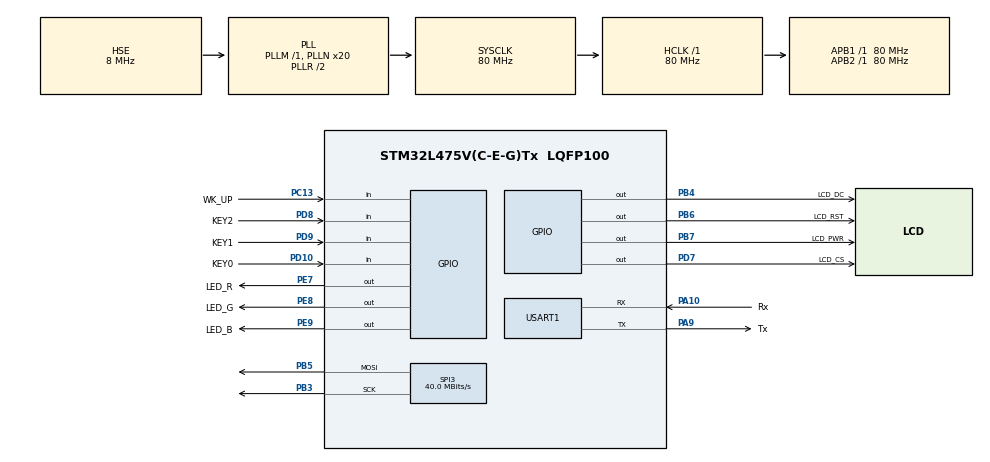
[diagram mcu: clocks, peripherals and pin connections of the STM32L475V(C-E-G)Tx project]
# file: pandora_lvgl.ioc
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Dma.Request0=SPI3_TX
Dma.SPI3_TX.0.Direction=DMA_MEMORY_TO_PERIPH
Dma.SPI3_TX.0.Instance=DMA2_Channel2
Dma.SPI3_TX.0.MemDataAlignment=DMA_MDATAALIGN_BYTE
Dma.SPI3_TX.0.MemInc=DMA_MINC_ENABLE
Dma.SPI3_TX.0.Mode=DMA_NORMAL
Dma.SPI3_TX.0.PeriphDataAlignment=DMA_PDATAALIGN_BYTE
Dma.SPI3_TX.0.PeriphInc=DMA_PINC_DISABLE
Dma.SPI3_TX.0.Priority=DMA_PRIORITY_MEDIUM
Mcu.Family=STM32L4
Mcu.Name=STM32L475V(C-E-G)Tx
Mcu.Package=LQFP100
NVIC.DMA2_Channel2_IRQn=true\:2\:0\:true\:false\:true\:false\:true
NVIC.PriorityGroup=NVIC_PRIORITYGROUP_4
PA10.GPIO_Label=Rx
PA10.Mode=Asynchronous
PA10.Signal=USART1_RX
PA9.GPIO_Label=Tx
PA9.Mode=Asynchronous
PA9.Signal=USART1_TX
PB3\ (JTDO-TRACESWO).Mode=TX_Only_Simplex_Unidirect_Master
PB3\ (JTDO-TRACESWO).Signal=SPI3_SCK
PB4\ (NJTRST).GPIO_Label=LCD_DC
PB4\ (NJTRST).GPIO_PuPd=GPIO_PULLUP
PB4\ (NJTRST).GPIO_Speed=GPIO_SPEED_FREQ_HIGH
PB4\ (NJTRST).PinState=GPIO_PIN_SET
PB4\ (NJTRST).Signal=GPIO_Output
PB5.Mode=TX_Only_Simplex_Unidirect_Master
PB5.Signal=SPI3_MOSI
PB6.GPIO_Label=LCD_RST
PB6.GPIO_ModeDefaultOutputPP=GPIO_MODE_OUTPUT_PP
PB6.GPIO_PuPd=GPIO_PULLUP
PB6.GPIO_Speed=GPIO_SPEED_FREQ_HIGH
PB6.PinState=GPIO_PIN_SET
PB6.Signal=GPIO_Output
PB7.GPIO_Label=LCD_PWR
PB7.GPIO_PuPd=GPIO_PULLUP
PB7.GPIO_Speed=GPIO_SPEED_FREQ_HIGH
PB7.PinState=GPIO_PIN_SET
PB7.Signal=GPIO_Output
PC13.GPIO_Label=WK_UP
PC13.Signal=GPIO_Input
PD10.GPIO_Label=KEY0
PD10.GPIO_PuPd=GPIO_NOPULL
PD10.Signal=GPIO_Input
PD7.GPIO_Label=LCD_CS
PD7.GPIO_PuPd=GPIO_PULLUP
PD7.GPIO_Speed=GPIO_SPEED_FREQ_HIGH
PD7.PinState=GPIO_PIN_SET
PD7.Signal=GPIO_Output
PD8.GPIO_Label=KEY2
PD8.GPIO_PuPd=GPIO_NOPULL
PD8.Signal=GPIO_Input
PD9.GPIO_Label=KEY1
PD9.GPIO_PuPd=GPIO_NOPULL
PD9.Signal=GPIO_Input
PE7.GPIO_Label=LED_R
PE7.GPIO_ModeDefaultOutputPP=GPIO_MODE_OUTPUT_PP
PE7.GPIO_PuPd=GPIO_PULLUP
PE7.GPIO_Speed=GPIO_SPEED_FREQ_HIGH
PE7.PinState=GPIO_PIN_SET
PE7.Signal=GPIO_Output
PE8.GPIO_Label=LED_G
PE8.GPIO_PuPd=GPIO_PULLUP
PE8.GPIO_Speed=GPIO_SPEED_FREQ_HIGH
PE8.PinState=GPIO_PIN_SET
PE8.Signal=GPIO_Output
PE9.GPIO_Label=LED_B
PE9.GPIO_PuPd=GPIO_PULLUP
PE9.GPIO_Speed=GPIO_SPEED_FREQ_HIGH
PE9.PinState=GPIO_PIN_SET
PE9.Signal=GPIO_Output
PH0-OSC_IN\ (PH0).Mode=HSE-External-Oscillator
PH0-OSC_IN\ (PH0).Signal=RCC_OSC_IN
PH1-OSC_OUT\ (PH1).Mode=HSE-External-Oscillator
PH1-OSC_OUT\ (PH1).Signal=RCC_OSC_OUT
ProjectManager.HeapSize=0x200
ProjectManager.StackSize=0x400
ProjectManager.TargetToolchain=MDK-ARM V5
RCC.ADCFreq_Value=32000000
RCC.AHBFreq_Value=80000000
RCC.APB1Freq_Value=80000000
RCC.APB1TimFreq_Value=80000000
RCC.APB2Freq_Value=80000000
RCC.APB2TimFreq_Value=80000000
RCC.CortexFreq_Value=80000000
RCC.HCLKFreq_Value=80000000
RCC.HSE_VALUE=8000000
RCC.HSI_VALUE=16000000
RCC.LSE_VALUE=32768
RCC.MSI_VALUE=4000000
RCC.PLLN=20
RCC.PLLSourceVirtual=RCC_PLLSOURCE_HSE
RCC.SYSCLKFreq_VALUE=80000000
RCC.SYSCLKSource=RCC_SYSCLKSOURCE_PLLCLK
RCC.USBFreq_Value=32000000
RCC.VCOOutputFreq_Value=160000000
SPI3.CLKPhase=SPI_PHASE_2EDGE
SPI3.CLKPolarity=SPI_POLARITY_HIGH
SPI3.CalculateBaudRate=40.0 MBits/s
SPI3.DataSize=SPI_DATASIZE_8BIT
SPI3.Direction=SPI_DIRECTION_2LINES
SPI3.Mode=SPI_MODE_MASTER
SPI3.VirtualType=VM_MASTER
USART1.VirtualMode-Asynchronous=VM_ASYNC
board=custom

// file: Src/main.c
/* USER CODE BEGIN Header */
/**
  ******************************************************************************
  * @file           : main.c
  * @brief          : Main program body
  ******************************************************************************
  * @attention
  *
  * <h2><center>&copy; Copyright (c) 2019 STMicroelectronics.
  * All rights reserved.</center></h2>
  *
  * This software component is licensed by ST under BSD 3-Clause license,
  * the "License"; You may not use this file except in compliance with the
  * License. You may obtain a copy of the License at:
  *                        opensource.org/licenses/BSD-3-Clause
  *
  ******************************************************************************
  */
/* USER CODE END Header */

#include "main.h"

/* USER CODE BEGIN Includes */
#include "stdio.h"
#include "lcd.h"
#include "lvgl/lvgl.h"

#include "hal_stm_lvgl/tft/tft.h"
#include "hal_stm_lvgl/button/button.h"
#include "hal_stm_lvgl/keypad/keypad.h"

#include "lv_examples/lv_apps/demo/demo.h"
#include "lv_examples/lv_apps/benchmark/benchmark.h"
#include "lv_examples/lv_apps/sysmon/sysmon.h"
#include "lv_examples/lv_tests/lv_test_group/lv_test_group.h"
#include "lv_examples/lv_tutorial/4_themes/lv_tutorial_themes.h"
/* USER CODE END Includes */

/* USER CODE BEGIN PTD */
#define PUTCHAR_PROTOTYPE int fputc(int ch, FILE *f)
/* USER CODE END PTD */

SPI_HandleTypeDef hspi3;
DMA_HandleTypeDef hdma_spi3_tx;

UART_HandleTypeDef huart1;

void SystemClock_Config(void);
static void MX_GPIO_Init(void);
static void MX_DMA_Init(void);
static void MX_SPI3_Init(void);
static void MX_USART1_UART_Init(void);

/* USER CODE BEGIN 0 */
PUTCHAR_PROTOTYPE
{
  /* Place your implementation of fputc here */
  /* e.g. write a character to the USART3 and Loop until the end of transmission */
  HAL_UART_Transmit(&huart1, (uint8_t *)&ch, 1, 0xFFFF);

  return ch;
}
/* USER CODE END 0 */

int main(void)
{

  /* MCU Configuration--------------------------------------------------------*/

  /* Reset of all peripherals, Initializes the Flash interface and the Systick. */
  HAL_Init();

  /* Configure the system clock */
  SystemClock_Config();

  /* Initialize all configured peripherals */
  MX_GPIO_Init();
  MX_DMA_Init();
  MX_SPI3_Init();
  MX_USART1_UART_Init();
  /* USER CODE BEGIN 2 */
  LCD_Init();
  lv_init();
  tft_init();

  /*input device init*/
#if USE_KEYPAD
  keypad_init();
#else
  button_init();
#endif
  /*demo or test case create*/
  //lv_test_group_1();
  demo_create();
  //sysmon_create();
  //lv_tutorial_themes();
  //benchmark_create();
  /* USER CODE END 2 */

  /* Infinite loop */
  /* USER CODE BEGIN WHILE */
  while (1)
  {
      HAL_Delay(1);
      lv_task_handler();
    /* USER CODE END WHILE */

  }
}

void SystemClock_Config(void)
{
  RCC_OscInitTypeDef RCC_OscInitStruct = {0};
  RCC_ClkInitTypeDef RCC_ClkInitStruct = {0};
  RCC_PeriphCLKInitTypeDef PeriphClkInit = {0};

  /** Initializes the CPU, AHB and APB busses clocks
  */
  RCC_OscInitStruct.OscillatorType = RCC_OSCILLATORTYPE_HSE;
  RCC_OscInitStruct.HSEState = RCC_HSE_ON;
  RCC_OscInitStruct.PLL.PLLState = RCC_PLL_ON;
  RCC_OscInitStruct.PLL.PLLSource = RCC_PLLSOURCE_HSE;
  RCC_OscInitStruct.PLL.PLLM = 1;
  RCC_OscInitStruct.PLL.PLLN = 20;
  RCC_OscInitStruct.PLL.PLLP = RCC_PLLP_DIV7;
  RCC_OscInitStruct.PLL.PLLQ = RCC_PLLQ_DIV2;
  RCC_OscInitStruct.PLL.PLLR = RCC_PLLR_DIV2;
  if (HAL_RCC_OscConfig(&RCC_OscInitStruct) != HAL_OK)
  {
    Error_Handler();
  }
  /** Initializes the CPU, AHB and APB busses clocks
  */
  RCC_ClkInitStruct.ClockType = RCC_CLOCKTYPE_HCLK|RCC_CLOCKTYPE_SYSCLK
                              |RCC_CLOCKTYPE_PCLK1|RCC_CLOCKTYPE_PCLK2;
  RCC_ClkInitStruct.SYSCLKSource = RCC_SYSCLKSOURCE_PLLCLK;
  RCC_ClkInitStruct.AHBCLKDivider = RCC_SYSCLK_DIV1;
  RCC_ClkInitStruct.APB1CLKDivider = RCC_HCLK_DIV1;
  RCC_ClkInitStruct.APB2CLKDivider = RCC_HCLK_DIV1;

  if (HAL_RCC_ClockConfig(&RCC_ClkInitStruct, FLASH_LATENCY_4) != HAL_OK)
  {
    Error_Handler();
  }
  PeriphClkInit.PeriphClockSelection = RCC_PERIPHCLK_USART1;
  PeriphClkInit.Usart1ClockSelection = RCC_USART1CLKSOURCE_PCLK2;
  if (HAL_RCCEx_PeriphCLKConfig(&PeriphClkInit) != HAL_OK)
  {
    Error_Handler();
  }
  /** Configure the main internal regulator output voltage
  */
  if (HAL_PWREx_ControlVoltageScaling(PWR_REGULATOR_VOLTAGE_SCALE1) != HAL_OK)
  {
    Error_Handler();
  }
}

static void MX_SPI3_Init(void)
{

  /* SPI3 parameter configuration*/
  hspi3.Instance = SPI3;
  hspi3.Init.Mode = SPI_MODE_MASTER;
  hspi3.Init.Direction = SPI_DIRECTION_2LINES;
  hspi3.Init.DataSize = SPI_DATASIZE_8BIT;
  hspi3.Init.CLKPolarity = SPI_POLARITY_HIGH;
  hspi3.Init.CLKPhase = SPI_PHASE_2EDGE;
  hspi3.Init.NSS = SPI_NSS_SOFT;
  hspi3.Init.BaudRatePrescaler = SPI_BAUDRATEPRESCALER_2;
  hspi3.Init.FirstBit = SPI_FIRSTBIT_MSB;
  hspi3.Init.TIMode = SPI_TIMODE_DISABLE;
  hspi3.Init.CRCCalculation = SPI_CRCCALCULATION_DISABLE;
  hspi3.Init.CRCPolynomial = 7;
  hspi3.Init.CRCLength = SPI_CRC_LENGTH_DATASIZE;
  hspi3.Init.NSSPMode = SPI_NSS_PULSE_DISABLE;
  if (HAL_SPI_Init(&hspi3) != HAL_OK)
  {
    Error_Handler();
  }

}

static void MX_USART1_UART_Init(void)
{

  huart1.Instance = USART1;
  huart1.Init.BaudRate = 115200;
  huart1.Init.WordLength = UART_WORDLENGTH_8B;
  huart1.Init.StopBits = UART_STOPBITS_1;
  huart1.Init.Parity = UART_PARITY_NONE;
  huart1.Init.Mode = UART_MODE_TX_RX;
  huart1.Init.HwFlowCtl = UART_HWCONTROL_NONE;
  huart1.Init.OverSampling = UART_OVERSAMPLING_16;
  huart1.Init.OneBitSampling = UART_ONE_BIT_SAMPLE_DISABLE;
  huart1.AdvancedInit.AdvFeatureInit = UART_ADVFEATURE_NO_INIT;
  if (HAL_UART_Init(&huart1) != HAL_OK)
  {
    Error_Handler();
  }

}

static void MX_DMA_Init(void)
{
  /* DMA controller clock enable */
  __HAL_RCC_DMA2_CLK_ENABLE();

  /* DMA interrupt init */
  /* DMA2_Channel2_IRQn interrupt configuration */
  HAL_NVIC_SetPriority(DMA2_Channel2_IRQn, 2, 0);
  HAL_NVIC_EnableIRQ(DMA2_Channel2_IRQn);

}

static void MX_GPIO_Init(void)
{
  GPIO_InitTypeDef GPIO_InitStruct = {0};

  /* GPIO Ports Clock Enable */
  __HAL_RCC_GPIOC_CLK_ENABLE();
  __HAL_RCC_GPIOH_CLK_ENABLE();
  __HAL_RCC_GPIOE_CLK_ENABLE();
  __HAL_RCC_GPIOD_CLK_ENABLE();
  __HAL_RCC_GPIOA_CLK_ENABLE();
  __HAL_RCC_GPIOB_CLK_ENABLE();

  /*Configure GPIO pin Output Level */
  HAL_GPIO_WritePin(GPIOE, LED_R_Pin|LED_G_Pin|LED_B_Pin, GPIO_PIN_SET);

  /*Configure GPIO pin Output Level */
  HAL_GPIO_WritePin(LCD_CS_GPIO_Port, LCD_CS_Pin, GPIO_PIN_SET);

  /*Configure GPIO pin Output Level */
  HAL_GPIO_WritePin(GPIOB, LCD_DC_Pin|LCD_RST_Pin|LCD_PWR_Pin, GPIO_PIN_SET);

  /*Configure GPIO pin : WK_UP_Pin */
  GPIO_InitStruct.Pin = WK_UP_Pin;
  GPIO_InitStruct.Mode = GPIO_MODE_INPUT;
  GPIO_InitStruct.Pull = GPIO_NOPULL;
  HAL_GPIO_Init(WK_UP_GPIO_Port, &GPIO_InitStruct);

  /*Configure GPIO pins : LED_R_Pin LED_G_Pin LED_B_Pin */
  GPIO_InitStruct.Pin = LED_R_Pin|LED_G_Pin|LED_B_Pin;
  GPIO_InitStruct.Mode = GPIO_MODE_OUTPUT_PP;
  GPIO_InitStruct.Pull = GPIO_PULLUP;
  GPIO_InitStruct.Speed = GPIO_SPEED_FREQ_HIGH;
  HAL_GPIO_Init(GPIOE, &GPIO_InitStruct);

  /*Configure GPIO pins : KEY2_Pin KEY1_Pin KEY0_Pin */
  GPIO_InitStruct.Pin = KEY2_Pin|KEY1_Pin|KEY0_Pin;
  GPIO_InitStruct.Mode = GPIO_MODE_INPUT;
  GPIO_InitStruct.Pull = GPIO_NOPULL;
  HAL_GPIO_Init(GPIOD, &GPIO_InitStruct);

  /*Configure GPIO pin : LCD_CS_Pin */
  GPIO_InitStruct.Pin = LCD_CS_Pin;
  GPIO_InitStruct.Mode = GPIO_MODE_OUTPUT_PP;
  GPIO_InitStruct.Pull = GPIO_PULLUP;
  GPIO_InitStruct.Speed = GPIO_SPEED_FREQ_HIGH;
  HAL_GPIO_Init(LCD_CS_GPIO_Port, &GPIO_InitStruct);

  /*Configure GPIO pins : LCD_DC_Pin LCD_RST_Pin LCD_PWR_Pin */
  GPIO_InitStruct.Pin = LCD_DC_Pin|LCD_RST_Pin|LCD_PWR_Pin;
  GPIO_InitStruct.Mode = GPIO_MODE_OUTPUT_PP;
  GPIO_InitStruct.Pull = GPIO_PULLUP;
  GPIO_InitStruct.Speed = GPIO_SPEED_FREQ_HIGH;
  HAL_GPIO_Init(GPIOB, &GPIO_InitStruct);

}

void Error_Handler(void)
{
}

/************************ (C) COPYRIGHT STMicroelectronics *****END OF FILE****/
